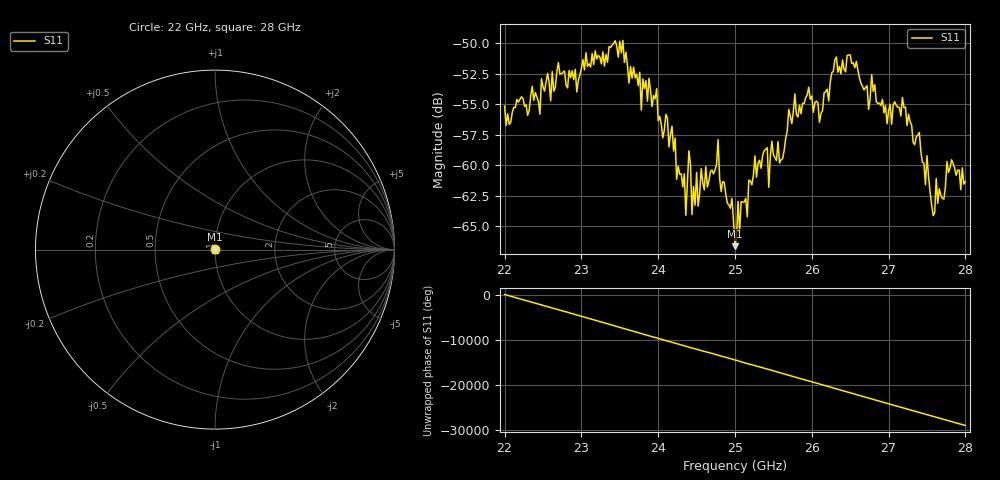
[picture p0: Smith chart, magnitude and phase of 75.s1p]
#  HZ  S  RI  R  50.00
! Rohde & Schwarz ZVA40 4Ports - Version 3.90 - 1145.1110k42 SN: 100403
! Date: 2023-10-04 07:45:48
! Measurement: S12
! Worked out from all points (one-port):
!   301 points, 22 GHz to 28 GHz, reference 50 ohm
!   lowest |S11| = -66.6 dB at 25 GHz (marker M1), VSWR 1.00, Z = 50 - j0.0445 ohm
!   |S11| at or under -10 dB: start of sweep to end of sweep
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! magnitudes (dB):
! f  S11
! 22 GHz  -55.1
! 22.76 GHz  -52.4
! 23.5 GHz  -49.9
! 24.26 GHz  -60.1
! 24.36 GHz  -64.1
! 24.4 GHz  -58.8
! 24.44 GHz  -64.0
! 24.78 GHz  -57.9
! 24.82 GHz  -62.2
! 24.96 GHz  -62.7
! 25 GHz  -66.6
! 25.26 GHz  -59.2
! 25.42 GHz  -58.6
! 25.44 GHz  -61.8
! 25.48 GHz  -58.0
! 25.58 GHz  -59.8
! 25.76 GHz  -55.6
! 26.1 GHz  -56.5
! 26.5 GHz  -51.0
! 26.74 GHz  -55.4
! 26.78 GHz  -52.6
! 26.98 GHz  -56.6
! 27.26 GHz  -55.8
! 27.48 GHz  -61.6
! 27.5 GHz  -59.2
! 27.58 GHz  -64.1
! 27.76 GHz  -59.7
! 28 GHz  -61.3
